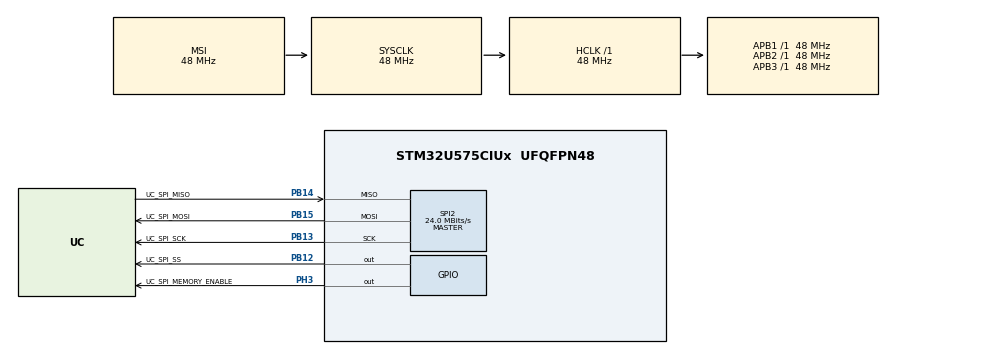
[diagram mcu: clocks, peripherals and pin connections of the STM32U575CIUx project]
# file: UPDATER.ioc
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CORTEX_M33_NS.userName=CORTEX_M33
IWDG.EWI=10
IWDG.Prescaler=IWDG_PRESCALER_1024
Mcu.Family=STM32U5
Mcu.Name=STM32U575CIUx
Mcu.Package=UFQFPN48
NVIC.IWDG_IRQn=true\:0\:0\:false\:false\:true\:true\:true\:true
NVIC.PriorityGroup=NVIC_PRIORITYGROUP_4
PA13\ (JTMS/SWDIO).Mode=Trace_Asynchronous_SW
PA13\ (JTMS/SWDIO).Signal=DEBUG_JTMS-SWDIO
PA14\ (JTCK/SWCLK).Mode=Trace_Asynchronous_SW
PA14\ (JTCK/SWCLK).Signal=DEBUG_JTCK-SWCLK
PB12.GPIO_Label=UC_SPI_SS
PB12.Signal=GPIO_Output
PB13.GPIO_Label=UC_SPI_SCK
PB13.Mode=Full_Duplex_Master
PB13.Signal=SPI2_SCK
PB14.GPIO_Label=UC_SPI_MISO
PB14.Mode=Full_Duplex_Master
PB14.Signal=SPI2_MISO
PB15.GPIO_Label=UC_SPI_MOSI
PB15.Mode=Full_Duplex_Master
PB15.Signal=SPI2_MOSI
PB3\ (JTDO/TRACESWO).Mode=Trace_Asynchronous_SW
PB3\ (JTDO/TRACESWO).Signal=DEBUG_JTDO-SWO
PH3-BOOT0.GPIO_Label=UC_SPI_MEMORY_ENABLE
PH3-BOOT0.Signal=GPIO_Output
ProjectManager.HeapSize=0x200
ProjectManager.StackSize=0x400
ProjectManager.TargetToolchain=STM32CubeIDE
RCC.ADCFreq_Value=16000000
RCC.AHBFreq_Value=48000000
RCC.APB1Freq_Value=48000000
RCC.APB1TimFreq_Value=48000000
RCC.APB2Freq_Value=48000000
RCC.APB2TimFreq_Value=48000000
RCC.APB3Freq_Value=48000000
RCC.CortexFreq_Value=48000000
RCC.DACCLockSelectionVirtual=RCC_DAC1CLKSOURCE_LSI
RCC.DACCLockSelectionVirtualString=RCC_DAC1CLKSOURCE_LSI
RCC.EPOD_VALUE=48000000
RCC.HCLKFreq_Value=48000000
RCC.HSE_VALUE=16000000
RCC.HSI48_VALUE=48000000
RCC.HSI_VALUE=16000000
RCC.LSE_VALUE=32768
RCC.LSIDIV_VALUE=32000
RCC.MSIClockRange=RCC_MSIRANGE_0
RCC.MSIKClockRange=RCC_MSIKRANGE_0
RCC.MSI_VALUE=48000000
RCC.PLLN=40
RCC.SYSCLKFreq_VALUE=48000000
RCC.USBFreq_Value=48000000
RCC.VCOOutputFreq_Value=1920000000
SPI2.CalculateBaudRate=24.0 MBits/s
SPI2.DataSize=SPI_DATASIZE_8BIT
SPI2.Direction=SPI_DIRECTION_2LINES
SPI2.Mode=SPI_MODE_MASTER
SPI2.VirtualType=VM_MASTER
VP_ICACHE_VS_ICACHE.Mode=DirectMappedCache
VP_IWDG_VS_IWDG.Mode=IWDG_Activate
VP_LPBAMQUEUE_VS_QUEUE.Mode=QUEUEMODE
VP_LPBAM_VS_SIG1.Mode=SmartRun
VP_LPBAM_VS_SIG4.Mode=LPDMA1
VP_PWR_VS_DBSignals.Mode=DisableDeadBatterySignals
VP_PWR_VS_LPOM.Mode=PowerOptimisation
VP_PWR_VS_SECSignals.Mode=Security/Privilege
board=custom

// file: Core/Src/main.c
/* USER CODE BEGIN Header */
/**
  ******************************************************************************
  * @file           : main.c
  * @brief          : Main program body
  ******************************************************************************
  * @attention
  *
  * Copyright (c) 2022 STMicroelectronics.
  * All rights reserved.
  *
  * This software is licensed under terms that can be found in the LICENSE file
  * in the root directory of this software component.
  * If no LICENSE file comes with this software, it is provided AS-IS.
  *
  ******************************************************************************
  */
/* USER CODE END Header */
#include "main.h"
#include "icache.h"
#include "iwdg.h"
#include "spi.h"
#include "gpio.h"

/* USER CODE BEGIN Includes */
#include <string.h>
#include "params.h"
#include "crc32.h"
#include "lz.h"
#include "spi_flash.h"
/* USER CODE END Includes */

/* USER CODE BEGIN PTD */
typedef void (*pFunction)( void );
/* USER CODE END PTD */

/* USER CODE BEGIN PM */
static uint8_t EraseFlash( void );
unsigned char  Validate( void );
static uint8_t FillFlash( void );
/* USER CODE END PM */

/* USER CODE BEGIN PV */
extern struct params param2;
extern char _main_app_start_address[], _logger_start_address[], _main_app_size[], _logger_size[];
/* USER CODE END PV */

void SystemClock_Config(void);
static void SystemPower_Config(void);

int updater_main(void)
{
	/* USER CODE BEGIN 1 */
	pFunction jump_to_app = NULL;
	uint32_t jump_addr    = 0;

	__disable_irq();

	/* USER CODE END 1 */

	/* MCU Configuration--------------------------------------------------------*/

	/* Reset of all peripherals, Initializes the Flash interface and the Systick. */
	HAL_Init();

	/* Configure the system clock */
	SystemClock_Config();

	/* Configure the System Power */
	SystemPower_Config();

	/* Initialize all configured peripherals */
	MX_GPIO_Init();
	MX_ICACHE_Init();
	MX_IWDG_Init();
	MX_SPI2_Init();
	/* USER CODE BEGIN 2 */
	MX_IWDG_Init();
	sFLASH_Init();
	sFLASH_initSST26V();
	crc32_init_table();
	params_init();

	HAL_IWDG_Refresh(&hiwdg);

	if ( param2.version.size && (param2.version.size != 0xFFFFFFFF)) {
		if ( Validate() ) {
			// TODO simular descompresi�n para comprobar q no superamos el valor max de PROG MEM
			// ANTES del borrado
			while (1) {
				if (EraseFlash()) {
					if (FillFlash()) {
						// TODO check CRC
						// Aunque por ahora no tengo CRC del firmware descomprimido
						// Y si hay fallo en la escritura flash, FillFlash devuelve 0
						param2.version.major = param2.version.to_major;
						param2.version.minor = param2.version.to_minor;
						param2.version.size = 0;
						param2.version.crc = 0;
						param2.version.to_major = 0;
						param2.version.to_minor = 0;
						params_check_for_changes();
						break;
					}
				}
			}
		}
	}

	HAL_IWDG_Refresh(&hiwdg);

	if ((*(__IO uint32_t *) _main_app_start_address) == 0x200C0000)
	{
		jump_addr   = (uint32_t) *((__IO uint32_t*) _main_app_start_address);
		jump_to_app = (pFunction) *(__IO uint32_t*) ((uint32_t) _main_app_start_address + 4);
		SCB->VTOR   = 0x08008000;
		__set_MSP(jump_addr);
		jump_to_app();
	}
	else
	{
		NVIC_SystemReset();
	}
	/* USER CODE END 2 */

	/* Infinite loop */
	while (1)
	{

	}
}

void SystemClock_Config(void)
{
  RCC_OscInitTypeDef RCC_OscInitStruct = {0};
  RCC_ClkInitTypeDef RCC_ClkInitStruct = {0};

  /** Configure the main internal regulator output voltage
  */
  if (HAL_PWREx_ControlVoltageScaling(PWR_REGULATOR_VOLTAGE_SCALE3) != HAL_OK)
  {
    Error_Handler();
  }

  /** Initializes the CPU, AHB and APB buses clocks
  */
  RCC_OscInitStruct.OscillatorType = RCC_OSCILLATORTYPE_LSI|RCC_OSCILLATORTYPE_MSI;
  RCC_OscInitStruct.LSIState = RCC_LSI_ON;
  RCC_OscInitStruct.MSIState = RCC_MSI_ON;
  RCC_OscInitStruct.MSICalibrationValue = RCC_MSICALIBRATION_DEFAULT;
  RCC_OscInitStruct.MSIClockRange = RCC_MSIRANGE_0;
  RCC_OscInitStruct.LSIDiv = RCC_LSI_DIV1;
  RCC_OscInitStruct.PLL.PLLState = RCC_PLL_NONE;
  if (HAL_RCC_OscConfig(&RCC_OscInitStruct) != HAL_OK)
  {
    Error_Handler();
  }

  /** Initializes the CPU, AHB and APB buses clocks
  */
  RCC_ClkInitStruct.ClockType = RCC_CLOCKTYPE_HCLK|RCC_CLOCKTYPE_SYSCLK
                              |RCC_CLOCKTYPE_PCLK1|RCC_CLOCKTYPE_PCLK2
                              |RCC_CLOCKTYPE_PCLK3;
  RCC_ClkInitStruct.SYSCLKSource = RCC_SYSCLKSOURCE_MSI;
  RCC_ClkInitStruct.AHBCLKDivider = RCC_SYSCLK_DIV1;
  RCC_ClkInitStruct.APB1CLKDivider = RCC_HCLK_DIV1;
  RCC_ClkInitStruct.APB2CLKDivider = RCC_HCLK_DIV1;
  RCC_ClkInitStruct.APB3CLKDivider = RCC_HCLK_DIV1;

  if (HAL_RCC_ClockConfig(&RCC_ClkInitStruct, FLASH_LATENCY_1) != HAL_OK)
  {
    Error_Handler();
  }
}

/**
  * @brief Power Configuration
  * @retval None
  */
static void SystemPower_Config(void)
{

  /*
   * Disable the internal Pull-Up in Dead Battery pins of UCPD peripheral
   */
  HAL_PWREx_DisableUCPDDeadBattery();
}

/* USER CODE BEGIN 4 */
/**
  * @brief  Gets the page of a given address
  * @param  Addr: Address of the FLASH Memory
  * @retval The page of a given address
  */
static uint32_t GetPage(uint32_t Addr)
{
  uint32_t page = 0;

  if (Addr < (FLASH_BASE + FLASH_BANK_SIZE))
  {
    /* Bank 1 */
    page = (Addr - FLASH_BASE) / FLASH_PAGE_SIZE;
  }
  else
  {
    /* Bank 2 */
    page = (Addr - (FLASH_BASE + FLASH_BANK_SIZE)) / FLASH_PAGE_SIZE;
  }

  return page;
}

/**
  * @brief  Gets the bank of a given address
  * @param  Addr: Address of the FLASH Memory
  * @retval The bank of a given address
  */
static uint32_t GetBank(uint32_t Addr)
{
	uint32_t bank = 0;
	if (Addr < (FLASH_BASE + FLASH_BANK_SIZE))
	{
		/* Bank 1 */
		bank = FLASH_BANK_1;
	}
	else
	{
		/* Bank 2 */
		bank = FLASH_BANK_2;
	}
	return bank;
}

static uint8_t EraseFlash()
{
    uint32_t pages_n, page_i, flash_page;
    FLASH_EraseInitTypeDef EraseInitStruct;
    uint32_t PAGEError = 0;

    pages_n = (uint32_t) _main_app_size / FLASH_PAGE_SIZE;

	/* Unlock the Flash to enable the flash control register access *************/
	HAL_FLASH_Unlock();
	/* Clear OPTVERR bit set on virgin samples */
	__HAL_FLASH_CLEAR_FLAG(FLASH_FLAG_SR_ERRORS);

    /* Get the 1st page to erase */
    flash_page = GetPage((uint32_t) _main_app_start_address + FLASH_PAGE_SIZE);
    /* Fill EraseInit structure*/
    EraseInitStruct.TypeErase = FLASH_TYPEERASE_PAGES;
    EraseInitStruct.Banks     = GetBank((uint32_t) _main_app_start_address + FLASH_PAGE_SIZE);//FLASH_BANK_1;
    EraseInitStruct.Page      = flash_page;
    EraseInitStruct.NbPages   = 1;
    HAL_FLASHEx_Erase(&EraseInitStruct, &PAGEError);

    for( page_i = 0; page_i < pages_n; page_i++ ) {
        flash_page                = GetPage((uint32_t) _main_app_start_address + FLASH_PAGE_SIZE * page_i);
    	/* Fill EraseInit structure*/
        EraseInitStruct.TypeErase = FLASH_TYPEERASE_PAGES;
        EraseInitStruct.Banks     = GetBank((uint32_t) _main_app_start_address + FLASH_PAGE_SIZE * page_i);//FLASH_BANK_1;
        EraseInitStruct.Page      = flash_page;

        if (HAL_FLASHEx_Erase(&EraseInitStruct, &PAGEError) != HAL_OK) {
    		HAL_FLASH_Lock();
    		return 0;
    	}
    }

    HAL_FLASH_Lock();
	return 1;
}

unsigned char Validate( void )
{
	uint32_t i, addr, crc;
	char     page[sFLASH_SPI_PAGESIZE];

	i = param2.version.size;
	addr = sFLASH_SPI_SECTOR_SIZE*2;
	crc = 0x00000000;

	while( i > sizeof(page) )
	{
		sFLASH_ReadBuffer( (unsigned char *) page, addr, sFLASH_SPI_PAGESIZE );
		crc = crc32( page, sizeof(page), ~crc );

		addr += sFLASH_SPI_PAGESIZE;
		i    -= sizeof(page);
	}
	if( i )
	{
		sFLASH_ReadBuffer( (unsigned char *) page, addr, i );
		crc = crc32( page, i, ~crc );
	}

	if ( crc == param2.version.crc )
	{
		return 1;
	}
	else
	{
		return 0;
	}
}

static uint8_t FillFlash( void )
{
	uint32_t src, dst, len, i, k, addr_MAX;
	uint16_t input_block_size;
    uint8_t input_data[8225], output_data[8192];
    static uint32_t counter = 0;

	/* Unlock the Flash to enable the flash control register access *************/
	HAL_FLASH_Unlock();
	/* Clear OPTVERR bit set on virgin samples */
	__HAL_FLASH_CLEAR_FLAG(FLASH_FLAG_SR_ERRORS);

//    src = (uint32_t) _logger_start_address;
	src      = sFLASH_SPI_SECTOR_SIZE * 2;
	addr_MAX = src + param2.version.size;
    dst = (uint32_t) _main_app_start_address;

//    while( src < (uint32_t) _logger_start_address + param2.version.size )
    while ( src < addr_MAX )
    {
    	HAL_IWDG_Refresh(&hiwdg);
    	// leo tama�o bloque
//        memcpy( (void *) &input_block_size, (uint32_t *) src, sizeof( input_block_size ));
    	sFLASH_ReadBuffer( (unsigned char *) &input_block_size, src, sizeof(input_block_size) );
        src += sizeof(input_block_size);
        // leo bloque
//        memcpy( (void *) input_data, (uint32_t *) src, input_block_size );
        sFLASH_ReadBuffer( input_data, src, input_block_size );
        src += input_block_size;
        // descomprimo bloque
        memset( (void *) output_data, '\0', sizeof( output_data ));
        len = LZ_Uncompress( input_data, output_data, input_block_size );
//    	uint64_t *data = (uint64_t *) &output_data;
//    	uint64_t tosave;
        uint8_t *data = (uint8_t *) &output_data;
    	FLASH_WaitForLastOperation((uint32_t)FLASH_TIMEOUT_VALUE);
        for( i = 0, k = 0; i < len; i+=16, k++ )
        {
//        	memcpy( &data, &output_data[ i ], sizeof( data ) );
//        	tosave = data[k];
			if ( HAL_FLASH_Program( FLASH_TYPEPROGRAM_QUADWORD, dst,  (uint32_t)(data + i) ) != HAL_OK ) {
				HAL_FLASH_Lock();
        		return 0;
			}
        	dst += 16;
        }
        counter++;
    }

    HAL_FLASH_Lock();
    return 1;
}
/* USER CODE END 4 */

void Error_Handler(void)
{
  __disable_irq();
  while (1)
  {
  }
}
